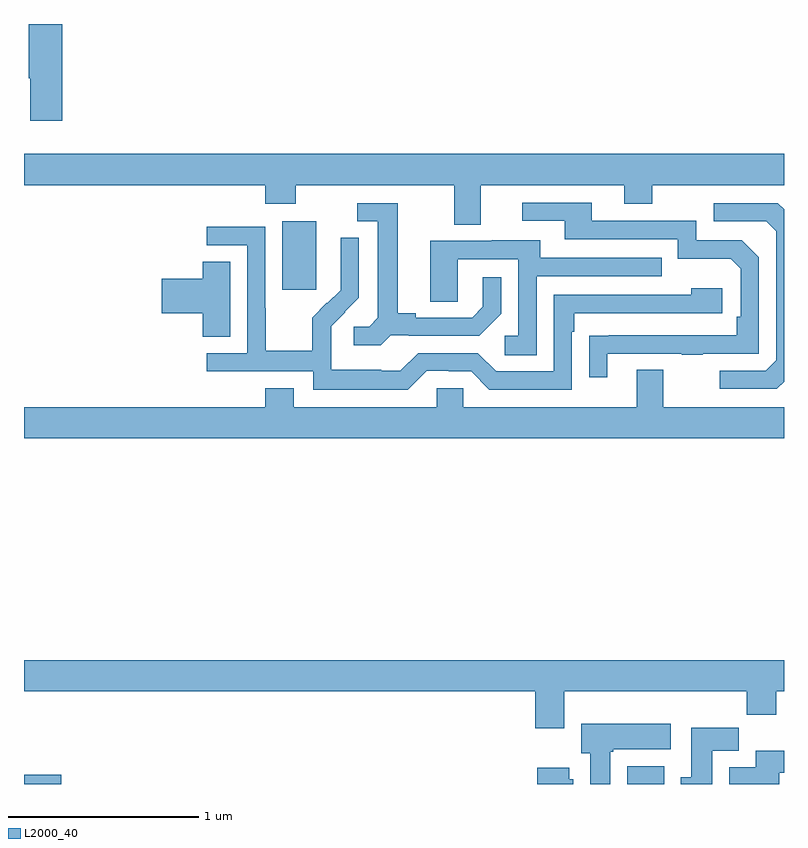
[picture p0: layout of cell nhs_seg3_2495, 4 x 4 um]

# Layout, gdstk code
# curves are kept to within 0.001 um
import gdstk
lib = gdstk.Library(unit=1e-6, precision=1e-09)
def R(c, l, rs):  # rectangles x0, y0, x1, y1
    for r in rs: c.add(gdstk.rectangle(r[:2], r[2:], *l))
def P(c, l, *ps):  # polygons
    for p in ps: c.add(gdstk.Polygon(p, *l))
L2000_40 = (2000, 40)

nhs_seg3_2495 = lib.new_cell('nhs_seg3_2495')
R(nhs_seg3_2495, L2000_40, [(239,728.4,239.195,728.449), (242.174,728.4,242.371,728.494), (240.359,731.001,240.538,731.362)])
P(nhs_seg3_2495, L2000_40, [(239.201,732.4),(239.026,732.4),(239.026,732.115),(239.033,732.115),(239.033,731.892),(239.201,731.892)],
  [(239,731.552),(240.269,731.552),(240.269,731.453),(240.429,731.453),(240.429,731.552),(241.265,731.552),(241.265,731.344),(241.405,731.344),(241.405,731.552),(242.159,731.552),(242.159,731.453),(242.307,731.453),(242.307,731.552),(243,731.552),(243,731.716),(239,731.716)],
  [(242.071,730.665),(242.461,730.665),(242.461,730.66),(242.573,730.66),(242.573,730.665),(242.868,730.665),(242.868,731.172),(242.778,731.262),(242.538,731.262),(242.538,731.364),(241.987,731.364),(241.987,731.46),(241.623,731.46),(241.623,731.364),(241.847,731.364),(241.847,731.268),(242.442,731.268),(242.442,731.165),(242.719,731.165),(242.772,731.112),(242.772,730.858),(242.752,730.858),(242.752,730.761),(241.975,730.76),(241.975,730.542),(242.071,730.542)],
  [(240.93,730.761),(241.024,730.761),(241.024,730.758),(241.396,730.758),(241.512,730.874),(241.512,731.068),(241.415,731.068),(241.415,730.911),(241.358,730.854),(241.063,730.854),(241.063,730.877),(240.967,730.877),(240.967,731.457),(240.753,731.457),(240.753,731.361),(240.863,731.361),(240.863,730.853),(240.816,730.806),(240.735,730.806),(240.735,730.709),(240.878,730.709)],
  [(243,730.518),(243,731.424),(242.967,731.457),(242.631,731.457),(242.631,731.361),(242.907,731.361),(242.958,731.31),(242.958,730.629),(242.904,730.575),(242.661,730.575),(242.661,730.479),(242.961,730.479)],
  [(241.119,730.575),(241.235,730.575),(241.235,730.572),(241.353,730.572),(241.449,730.476),(241.884,730.476),(241.884,730.781),(241.897,730.781),(241.897,730.878),(242.674,730.878),(242.674,731.008),(242.513,731.008),(242.513,730.974),(241.788,730.974),(241.788,730.572),(241.485,730.572),(241.389,730.668),(241.074,730.668),(240.981,730.575),(240.881,730.575),(240.881,730.579),(240.618,730.579),(240.618,730.713),(240.616,730.713),(240.616,730.81),(240.762,730.958),(240.762,731.276),(240.666,731.276),(240.666,731.122),(240.668,731.122),(240.668,731),(240.597,730.929),(240.594,730.932),(240.517,730.855),(240.517,730.681),(240.273,730.681),(240.273,730.904),(240.27,730.904),(240.27,731.334),(239.961,731.334),(239.961,731.235),(240.174,731.235),(240.174,730.668),(239.961,730.668),(239.961,730.572),(240.522,730.572),(240.522,730.475),(241.019,730.475)],
  [(241.698,731.073),(242.357,731.073),(242.357,731.169),(241.717,731.169),(241.717,731.263),(241.463,731.263),(241.463,731.259),(241.139,731.259),(241.139,730.939),(241.284,730.939),(241.284,731.163),(241.602,731.163),(241.602,730.758),(241.53,730.758),(241.53,730.657),(241.698,730.657)],
  [(240.085,731.15),(239.942,731.15),(239.942,731.06),(239.724,731.06),(239.724,730.877),(239.942,730.877),(239.942,730.753),(240.085,730.753)],
  [(243,730.384),(242.365,730.384),(242.365,730.579),(242.225,730.579),(242.225,730.384),(241.311,730.384),(241.311,730.482),(241.173,730.482),(241.173,730.384),(240.421,730.384),(240.421,730.483),(240.269,730.483),(240.269,730.384),(239,730.384),(239,730.22),(243,730.22)],
  [(241.843,728.888),(242.803,728.888),(242.803,728.764),(242.96,728.764),(242.96,728.888),(243,728.888),(243,729.052),(239,729.052),(239,728.888),(241.691,728.888),(241.691,728.694),(241.843,728.694)],
  [(242.086,728.569),(242.1,728.569),(242.1,728.582),(242.404,728.582),(242.404,728.716),(241.934,728.716),(241.934,728.562),(241.979,728.562),(241.979,728.4),(242.086,728.4)],
  [(242.623,728.576),(242.762,728.576),(242.762,728.695),(242.513,728.695),(242.513,728.436),(242.456,728.436),(242.456,728.4),(242.623,728.4)],
  [(242.975,728.458),(243,728.458),(243,728.576),(242.852,728.576),(242.852,728.488),(242.711,728.488),(242.711,728.4),(242.975,728.4)],
  [(241.891,728.424),(241.87,728.424),(241.87,728.485),(241.7,728.485),(241.7,728.4),(241.891,728.4)])

lib.write_gds('nhs_seg3_2495.gds')
